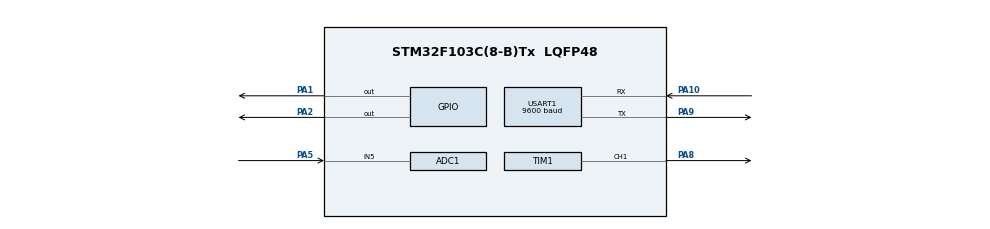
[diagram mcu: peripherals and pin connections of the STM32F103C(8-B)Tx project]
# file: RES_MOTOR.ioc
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ADC1.Channel-0\#ChannelRegularConversion=ADC_CHANNEL_5
ADC1.NbrOfConversionFlag=1
ADC1.Rank-0\#ChannelRegularConversion=1
ADC1.SamplingTime-0\#ChannelRegularConversion=ADC_SAMPLETIME_239CYCLES_5
ADC1.master=1
Mcu.Family=STM32F1
Mcu.Name=STM32F103C(8-B)Tx
Mcu.Package=LQFP48
NVIC.ADC1_2_IRQn=true\:1\:0\:true\:false\:true\:true\:true\:true
NVIC.PriorityGroup=NVIC_PRIORITYGROUP_4
NVIC.TIM1_CC_IRQn=true\:0\:0\:true\:false\:true\:true\:true\:true
NVIC.TIM1_UP_IRQn=true\:0\:0\:true\:false\:true\:true\:true\:true
PA1.Signal=GPIO_Output
PA10.Mode=Asynchronous
PA10.Signal=USART1_RX
PA13.Mode=Serial_Wire
PA13.Signal=SYS_JTMS-SWDIO
PA14.Mode=Serial_Wire
PA14.Signal=SYS_JTCK-SWCLK
PA2.Signal=GPIO_Output
PA5.Signal=ADCx_IN5
PA8.Signal=S_TIM1_CH1
PA9.Mode=Asynchronous
PA9.Signal=USART1_TX
PD0-OSC_IN.Mode=HSE-External-Oscillator
PD0-OSC_IN.Signal=RCC_OSC_IN
PD1-OSC_OUT.Mode=HSE-External-Oscillator
PD1-OSC_OUT.Signal=RCC_OSC_OUT
ProjectManager.HeapSize=0x200
ProjectManager.StackSize=0x400
ProjectManager.TargetToolchain=STM32CubeIDE
RCC.APB1Freq_Value=8000000
RCC.APB2Freq_Value=8000000
SH.ADCx_IN5.0=ADC1_IN5,IN5
SH.S_TIM1_CH1.0=TIM1_CH1,PWM Generation1 CH1
TIM1.Channel-PWM\ Generation1\ CH1=TIM_CHANNEL_1
TIM1.Period=1000-1
TIM1.Prescaler=8-1
TIM1.Pulse-PWM\ Generation1\ CH1=500-1
USART1.BaudRate=9600
USART1.VirtualMode=VM_ASYNC
VP_TIM1_VS_ClockSourceINT.Mode=Internal
board=custom

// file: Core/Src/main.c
/* USER CODE BEGIN Header */
/**
 ******************************************************************************
 * @file           : main.c
 * @brief          : Main program body
 ******************************************************************************
 * @attention
 *
 * Copyright (c) 2025 STMicroelectronics.
 * All rights reserved.
 *
 * This software is licensed under terms that can be found in the LICENSE file
 * in the root directory of this software component.
 * If no LICENSE file comes with this software, it is provided AS-IS.
 *
 ******************************************************************************
 */
/* USER CODE END Header */
#include "main.h"

ADC_HandleTypeDef hadc1;

TIM_HandleTypeDef htim1;

UART_HandleTypeDef huart1;

/* USER CODE BEGIN PV */
//uint8_t *txByte= " hello\n";
#define ADC_FILTER_SIZE 5
uint32_t adcBuffer[ADC_FILTER_SIZE] = { 0 };
uint8_t adcIndex = 0;
uint32_t adcVal;
uint32_t lastAdcVal;
uint32_t threshold = 20;
uint16_t step_need = 0;
uint16_t step_run = 0;
uint16_t step_curr = 0;
uint16_t step_new = 0;

/* USER CODE END PV */

void SystemClock_Config(void);
static void MX_GPIO_Init(void);
static void MX_ADC1_Init(void);
static void MX_TIM1_Init(void);
static void MX_USART1_UART_Init(void);

int main(void) {

	/* MCU Configuration--------------------------------------------------------*/

	/* Reset of all peripherals, Initializes the Flash interface and the Systick. */
	HAL_Init();

	/* Configure the system clock */
	SystemClock_Config();

	/* Initialize all configured peripherals */
	MX_GPIO_Init();
	MX_ADC1_Init();
	MX_TIM1_Init();
	MX_USART1_UART_Init();
	/* USER CODE BEGIN 2 */
//  HAL_ADC_Start_IT(&hadc1);
//	HAL_TIM_PWM_Start_IT(&htim1, TIM_CHANNEL_1);
//	HAL_ADC_Start(&hadc1);
//	if (HAL_ADC_PollForConversion(&hadc1, 100) == HAL_OK) {
//		lastAdcVal = HAL_ADC_GetValue(&hadc1);
//	}
//	HAL_ADC_Stop(&hadc1);
	HAL_ADC_Start_IT(&hadc1);
	/* USER CODE END 2 */

	/* Infinite loop */
	while (1) {

		/* USER CODE BEGIN 3 */
//	  HAL_ADC_Start(&hadc1);
//	  HAL_ADC_PollForConversion(&hadc1, 1000);
//	  HAL_Delay(20);
//	  adcVal = HAL_ADC_GetValue(&hadc1);
//	  char buffer_adc[50];
//	  int length = snprintf(buffer_adc, sizeof(buffer_adc), "adc_value: %lu \r\n", adcVal);
//	  HAL_UART_Transmit(&huart1, (uint8_t *)buffer_adc, length, 1000);
//	  HAL_Delay(1000);
//	  read_ADC();
//		control();
	}
	/* USER CODE END 3 */
}

void SystemClock_Config(void) {
	RCC_OscInitTypeDef RCC_OscInitStruct = { 0 };
	RCC_ClkInitTypeDef RCC_ClkInitStruct = { 0 };
	RCC_PeriphCLKInitTypeDef PeriphClkInit = { 0 };

	/** Initializes the RCC Oscillators according to the specified parameters
	 * in the RCC_OscInitTypeDef structure.
	 */
	RCC_OscInitStruct.OscillatorType = RCC_OSCILLATORTYPE_HSI;
	RCC_OscInitStruct.HSIState = RCC_HSI_ON;
	RCC_OscInitStruct.HSICalibrationValue = RCC_HSICALIBRATION_DEFAULT;
	RCC_OscInitStruct.PLL.PLLState = RCC_PLL_NONE;
	if (HAL_RCC_OscConfig(&RCC_OscInitStruct) != HAL_OK) {
		Error_Handler();
	}

	/** Initializes the CPU, AHB and APB buses clocks
	 */
	RCC_ClkInitStruct.ClockType = RCC_CLOCKTYPE_HCLK | RCC_CLOCKTYPE_SYSCLK
			| RCC_CLOCKTYPE_PCLK1 | RCC_CLOCKTYPE_PCLK2;
	RCC_ClkInitStruct.SYSCLKSource = RCC_SYSCLKSOURCE_HSI;
	RCC_ClkInitStruct.AHBCLKDivider = RCC_SYSCLK_DIV1;
	RCC_ClkInitStruct.APB1CLKDivider = RCC_HCLK_DIV1;
	RCC_ClkInitStruct.APB2CLKDivider = RCC_HCLK_DIV1;

	if (HAL_RCC_ClockConfig(&RCC_ClkInitStruct, FLASH_LATENCY_0) != HAL_OK) {
		Error_Handler();
	}
	PeriphClkInit.PeriphClockSelection = RCC_PERIPHCLK_ADC;
	PeriphClkInit.AdcClockSelection = RCC_ADCPCLK2_DIV2;
	if (HAL_RCCEx_PeriphCLKConfig(&PeriphClkInit) != HAL_OK) {
		Error_Handler();
	}
}

static void MX_ADC1_Init(void) {

	ADC_ChannelConfTypeDef sConfig = { 0 };

	/** Common config
	 */
	hadc1.Instance = ADC1;
	hadc1.Init.ScanConvMode = ADC_SCAN_DISABLE;
	hadc1.Init.ContinuousConvMode = DISABLE;
	hadc1.Init.DiscontinuousConvMode = DISABLE;
	hadc1.Init.ExternalTrigConv = ADC_SOFTWARE_START;
	hadc1.Init.DataAlign = ADC_DATAALIGN_RIGHT;
	hadc1.Init.NbrOfConversion = 1;
	if (HAL_ADC_Init(&hadc1) != HAL_OK) {
		Error_Handler();
	}

	/** Configure Regular Channel
	 */
	sConfig.Channel = ADC_CHANNEL_5;
	sConfig.Rank = ADC_REGULAR_RANK_1;
	sConfig.SamplingTime = ADC_SAMPLETIME_239CYCLES_5;
	if (HAL_ADC_ConfigChannel(&hadc1, &sConfig) != HAL_OK) {
		Error_Handler();
	}

}

static void MX_TIM1_Init(void) {

	TIM_ClockConfigTypeDef sClockSourceConfig = { 0 };
	TIM_MasterConfigTypeDef sMasterConfig = { 0 };
	TIM_OC_InitTypeDef sConfigOC = { 0 };
	TIM_BreakDeadTimeConfigTypeDef sBreakDeadTimeConfig = { 0 };

	htim1.Instance = TIM1;
	htim1.Init.Prescaler = 8 - 1;
	htim1.Init.CounterMode = TIM_COUNTERMODE_UP;
	htim1.Init.Period = 1000 - 1;
	htim1.Init.ClockDivision = TIM_CLOCKDIVISION_DIV1;
	htim1.Init.RepetitionCounter = 0;
	htim1.Init.AutoReloadPreload = TIM_AUTORELOAD_PRELOAD_DISABLE;
	if (HAL_TIM_Base_Init(&htim1) != HAL_OK) {
		Error_Handler();
	}
	sClockSourceConfig.ClockSource = TIM_CLOCKSOURCE_INTERNAL;
	if (HAL_TIM_ConfigClockSource(&htim1, &sClockSourceConfig) != HAL_OK) {
		Error_Handler();
	}
	if (HAL_TIM_PWM_Init(&htim1) != HAL_OK) {
		Error_Handler();
	}
	sMasterConfig.MasterOutputTrigger = TIM_TRGO_RESET;
	sMasterConfig.MasterSlaveMode = TIM_MASTERSLAVEMODE_DISABLE;
	if (HAL_TIMEx_MasterConfigSynchronization(&htim1, &sMasterConfig)
			!= HAL_OK) {
		Error_Handler();
	}
	sConfigOC.OCMode = TIM_OCMODE_PWM1;
	sConfigOC.Pulse = 500 - 1;
	sConfigOC.OCPolarity = TIM_OCPOLARITY_HIGH;
	sConfigOC.OCNPolarity = TIM_OCNPOLARITY_HIGH;
	sConfigOC.OCFastMode = TIM_OCFAST_DISABLE;
	sConfigOC.OCIdleState = TIM_OCIDLESTATE_RESET;
	sConfigOC.OCNIdleState = TIM_OCNIDLESTATE_RESET;
	if (HAL_TIM_PWM_ConfigChannel(&htim1, &sConfigOC, TIM_CHANNEL_1)
			!= HAL_OK) {
		Error_Handler();
	}
	sBreakDeadTimeConfig.OffStateRunMode = TIM_OSSR_DISABLE;
	sBreakDeadTimeConfig.OffStateIDLEMode = TIM_OSSI_DISABLE;
	sBreakDeadTimeConfig.LockLevel = TIM_LOCKLEVEL_OFF;
	sBreakDeadTimeConfig.DeadTime = 0;
	sBreakDeadTimeConfig.BreakState = TIM_BREAK_DISABLE;
	sBreakDeadTimeConfig.BreakPolarity = TIM_BREAKPOLARITY_HIGH;
	sBreakDeadTimeConfig.AutomaticOutput = TIM_AUTOMATICOUTPUT_DISABLE;
	if (HAL_TIMEx_ConfigBreakDeadTime(&htim1, &sBreakDeadTimeConfig)
			!= HAL_OK) {
		Error_Handler();
	}
	HAL_TIM_MspPostInit(&htim1);

}

static void MX_USART1_UART_Init(void) {

	huart1.Instance = USART1;
	huart1.Init.BaudRate = 9600;
	huart1.Init.WordLength = UART_WORDLENGTH_8B;
	huart1.Init.StopBits = UART_STOPBITS_1;
	huart1.Init.Parity = UART_PARITY_NONE;
	huart1.Init.Mode = UART_MODE_TX_RX;
	huart1.Init.HwFlowCtl = UART_HWCONTROL_NONE;
	huart1.Init.OverSampling = UART_OVERSAMPLING_16;
	if (HAL_UART_Init(&huart1) != HAL_OK) {
		Error_Handler();
	}

}

static void MX_GPIO_Init(void) {
	GPIO_InitTypeDef GPIO_InitStruct = { 0 };

	/* GPIO Ports Clock Enable */
	__HAL_RCC_GPIOD_CLK_ENABLE();
	__HAL_RCC_GPIOA_CLK_ENABLE();

	/*Configure GPIO pin Output Level */
	HAL_GPIO_WritePin(GPIOA, GPIO_PIN_1 | GPIO_PIN_2, GPIO_PIN_RESET);

	/*Configure GPIO pins : PA1 PA2 */
	GPIO_InitStruct.Pin = GPIO_PIN_1 | GPIO_PIN_2;
	GPIO_InitStruct.Mode = GPIO_MODE_OUTPUT_PP;
	GPIO_InitStruct.Pull = GPIO_NOPULL;
	GPIO_InitStruct.Speed = GPIO_SPEED_FREQ_LOW;
	HAL_GPIO_Init(GPIOA, &GPIO_InitStruct);

}

/* USER CODE BEGIN 4 */
void printf_uart(const char *mess) {
	HAL_UART_Transmit(&huart1, (uint8_t*) mess, strlen(mess), 500);
}
void read_ADC() {
	HAL_ADC_Start(&hadc1);
	if (HAL_ADC_PollForConversion(&hadc1, 100) == HAL_OK) {
		lastAdcVal = HAL_ADC_GetValue(&hadc1);
	}
//	uint32_t newVal = HAL_ADC_GetValue(&hadc1);
//	HAL_ADC_Stop(&hadc1);
//
//	adcBuffer[adcIndex] = newVal;
//	adcIndex = (adcIndex + 1) % ADC_FILTER_SIZE;
//
//	uint32_t sum = 0;
//	for (uint8_t i = 0; i < ADC_FILTER_SIZE; i++) {
//		sum += adcBuffer[i];
//	}
//	adcVal = sum / ADC_FILTER_SIZE;
}

//void control() {
//	read_ADC();
//	if (adcVal > abs(lastAdcVal - threshold)){
////			|| (adcVal < lastAdcVal - threshold)) {
//		lastAdcVal = adcVal;
//
////		char buffer_adc[50];
////		int length = snprintf(buffer_adc, sizeof(buffer_adc),
////				"ADC value: %lu\r\n", adcVal);
////		HAL_UART_Transmit(&huart1, (uint8_t*) buffer_adc, length, 1000);
////
////		if (step_curr == 0) {
////			printf_uart("ok\n");
//			step_need = adcVal * 200 / 4036;
//
//			HAL_TIM_PWM_Start_IT(&htim1, TIM_CHANNEL_1);
//		} else {
//			step_new = adcVal * 200 / 4036;
//			if (step_curr > step_new) {
////				printf_uart("ok1\n");
//				step_need = step_curr - step_new;
//				HAL_GPIO_WritePin(GPIOA, GPIO_PIN_2, GPIO_PIN_RESET); // ngược
//				HAL_TIM_PWM_Start_IT(&htim1, TIM_CHANNEL_1);
//
//			} else if (step_curr < step_new) {
////				printf_uart("ok2\n");
//				step_need = step_new - step_curr;
//				HAL_GPIO_WritePin(GPIOA, GPIO_PIN_2, GPIO_PIN_SET);   //  thuận
//				HAL_TIM_PWM_Start_IT(&htim1, TIM_CHANNEL_1);
//			} else {
//				// Không thay đổi vị trí
//			}
//		}
//	}
//}

//void control(){
//	read_ADC();
//	if (step_curr == 0){
//		  		  printf_uart("ok");
//		  		  step_need = adcVal*200/4036;
//	//	  		  char ste_buff_need[50];
//	//	  		  int length1 = snprintf(ste_buff_need, sizeof(ste_buff_need), "ste_need_value: %lu \r\n", step_need);
//	//	  		  HAL_UART_Transmit(&huart1, (uint8_t *)ste_buff_need, length1, 1000);
//		  		  HAL_TIM_PWM_Start_IT(&htim1, TIM_CHANNEL_1);
//		  	  }
//		  	  else
//		  		  step_new = adcVal*200/4036;
//
//		  	  if (step_curr > step_new){
//		  		  printf_uart("ok1");
//		  		  step_need = step_curr - step_new;
//		  		  HAL_GPIO_WritePin(GPIOA, GPIO_PIN_2, GPIO_PIN_RESET);
//		  //		  HAL_TIM_PWM_Start_IT(&htim1, TIM_CHANNEL_1);
//		  	  }
//		  	  else if (step_curr < step_new){
//		  		  printf_uart("ok2");
//		  		  step_need = step_new - step_curr;
//		  		  HAL_GPIO_WritePin(GPIOA, GPIO_PIN_2, GPIO_PIN_SET);
//		  //		  HAL_TIM_PWM_Start_IT(&htim1, TIM_CHANNEL_1);
//		  	  }
//		  	  else {
//		  		  // vì timer dừng sẵn nên đã kh quay -> kh cần disable
//		  //		  HAL_GPIO_WritePin(GPIOA, GPIO_PIN_1, GPIO_PIN_SET);
//		  	  }
//		  	  lastAdcVal = adcVal;
//
//		  //	  HAL_Delay(1000);
//}

void HAL_ADC_ConvCpltCallback(ADC_HandleTypeDef *hadc) {
	if (hadc->Instance == ADC1) {
		// nên xử lí thêm nhiễu qua threhold ?
		adcVal = HAL_ADC_GetValue(&hadc1);
//	  if ((adcVal > lastAdcVal + threshold) || (adcVal < lastAdcVal - threshold))
//	          {
		lastAdcVal = adcVal; // cập nhật lại giá trị cũ
		char buffer_adc[50];
		int length = snprintf(buffer_adc, sizeof(buffer_adc),
				"adc_value: %lu \r\n", lastAdcVal);
		HAL_UART_Transmit(&huart1, (uint8_t*) buffer_adc, length, 1000);
//	          }
		if (step_curr == 0) {
			printf_uart("ok");
			step_need = adcVal * 200 / 4036;
			char ste_buff_need[50];
			int length1 = snprintf(ste_buff_need, sizeof(ste_buff_need),
					"step_need_value: %lu \r\n", step_need);
			HAL_UART_Transmit(&huart1, (uint8_t*) ste_buff_need, length1, 1000);
			HAL_TIM_PWM_Start_IT(&htim1, TIM_CHANNEL_1);
		} else {
			printf_uart("Chay vao else \n");
			step_new = adcVal * 200 / 4036;
		}

		if (step_curr > step_new) {
			printf_uart("bi dao");
			step_need = step_curr - step_new;
			HAL_GPIO_WritePin(GPIOA, GPIO_PIN_2, GPIO_PIN_RESET);
			HAL_TIM_PWM_Start_IT(&htim1, TIM_CHANNEL_1);
		} else if (step_curr < step_new) {
			printf_uart("xoay tiep");
			step_need = step_new - step_curr;
			HAL_GPIO_WritePin(GPIOA, GPIO_PIN_2, GPIO_PIN_SET);
			HAL_TIM_PWM_Start_IT(&htim1, TIM_CHANNEL_1);
		} else {
			 HAL_ADC_Start_IT(&hadc1); // gọi lại ADC
			// vì timer dừng sẵn nên đã kh quay -> kh cần disable
//		  HAL_GPIO_WritePin(GPIOA, GPIO_PIN_1, GPIO_PIN_SET);
		}
		lastAdcVal = adcVal;

//	  HAL_Delay(1000);

	}
}

void HAL_TIM_PWM_PulseFinishedCallback(TIM_HandleTypeDef *htim) {
	if (htim->Instance == TIM1) {
		// xử lí count
		step_run++;
//		printf_uart("Chay vao PWM \n");
		if (step_run >= step_need) {
			printf_uart("Chay het step can \n");
			if (step_curr == 0) {
				step_curr = step_need;
				char buffer_step_curr[50];
				int length1 = snprintf(buffer_step_curr,
						sizeof(buffer_step_curr), "step_curr value: %lu\r\n",
						step_curr);
				HAL_UART_Transmit(&huart1, (uint8_t*) buffer_step_curr, length1,
						1000);
			} else{
				step_curr = step_new;}
			step_run = 0;
			HAL_TIM_PWM_Stop_IT(&htim1, TIM_CHANNEL_1);
			printf_uart("Chay toi day \n");
			HAL_ADC_Start_IT(&hadc1);
		}
	}
}
/* USER CODE END 4 */

void Error_Handler(void) {
	__disable_irq();
	while (1) {
	}
}
